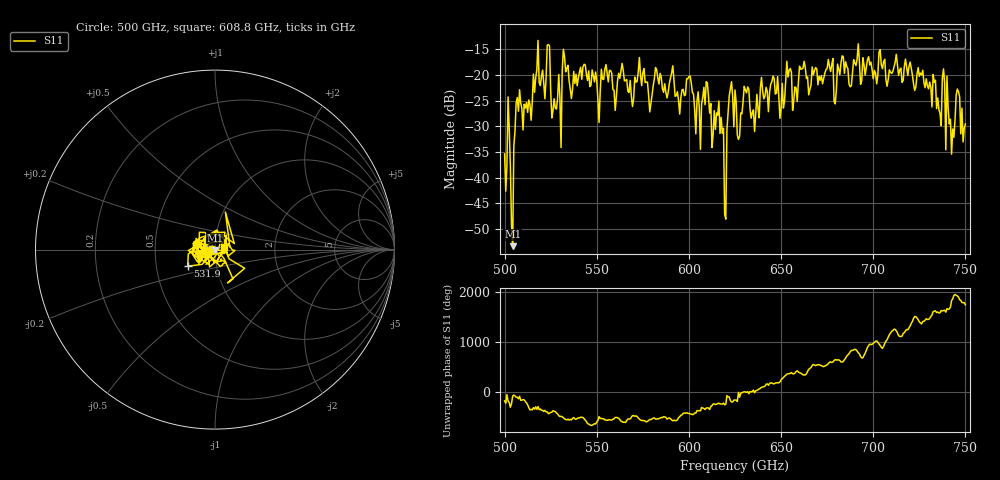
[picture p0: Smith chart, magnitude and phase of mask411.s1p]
!Created with skrf (http://scikit-rf.org).
# GHz S MA R 50.0
!freq magS11 angS11
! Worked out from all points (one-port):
!   401 points, 500 GHz to 750 GHz, reference 50 ohm
!   lowest |S11| = -53.4 dB at 504.4 GHz (marker M1), VSWR 1.00, Z = 50 - j0.209 ohm
!   |S11| at or under -10 dB: start of sweep to end of sweep
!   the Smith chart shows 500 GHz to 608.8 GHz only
!   S11 on the Smith chart (normalised r, x): 500 GHz: 0.97, -0.00; 531.9 GHz: 0.72, -0.14; 608.8 GHz: 1.10, +0.03
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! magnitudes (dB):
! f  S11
! 500 GHz  -35.4
! 501.9 GHz  -24.3
! 504.4 GHz  -53.4
! 507.5 GHz  -27.1
! 513.8 GHz  -25.7
! 516.9 GHz  -20.6
! 523.8 GHz  -14.1
! 526.9 GHz  -24.6
! 531.2 GHz  -19.2
! 531.9 GHz  -15.0
! 562.5 GHz  -20.7
! 590.6 GHz  -19.6
! 593.8 GHz  -23.3
! 600 GHz  -20.3
! 605 GHz  -23.3
! 608.8 GHz  -25.8
! 617.5 GHz  -28.3
! 619.4 GHz  -47.1
! 622.5 GHz  -22.6
! 625 GHz  -22.9
! 656.2 GHz  -26.9
! 687.5 GHz  -22.3
! 718.8 GHz  -20.1
! 735.6 GHz  -26.7
! 738.8 GHz  -21.5
! 742.5 GHz  -35.4
! 745.6 GHz  -22.7
! 750 GHz  -29.5
